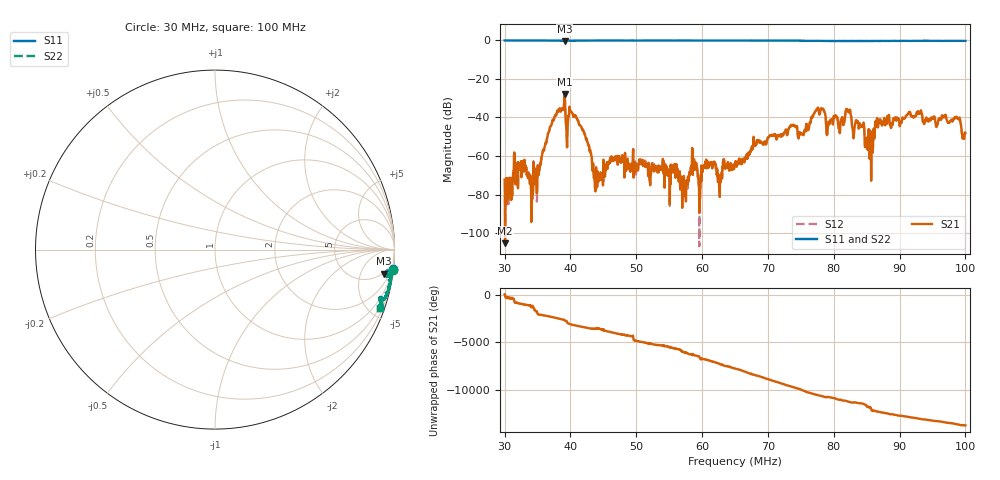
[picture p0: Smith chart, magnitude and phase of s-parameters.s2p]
!  23/08/2022  12:27:39 PM
! Ref Plane: 0.000 mm
# MHZ S MA R  50
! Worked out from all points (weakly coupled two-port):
!   2001 points, 30 MHz to 100 MHz, reference 50 ohm
!   highest |S21| = -27.83 dB at 39.13 MHz (marker M1); lowest = -105.4 dB at 30.07 MHz (marker M2)
!   lowest |S11| = -0.4 dB at 39.13 MHz (marker M3), VSWR 40.23, Z = 220 - j626 ohm
!   |S11| at or under -10 dB: nowhere
!   |S22| runs from -0.4 to 0.0 dB; largest |S21 - S12| = 0.00042
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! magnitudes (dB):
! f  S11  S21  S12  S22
! 30 MHz  0.0  -72.2  -73.9  0.0
! 30.07 MHz  0.0  -105.4  -94.4  0.0
! 32.48 MHz  0.0  -64.4  -63.0  0.0
! 34.2 MHz  0.0  -74.5  -76.4  0.0
! 37.42 MHz  -0.1  -41.2  -41.1  -0.1
! 39.13 MHz  -0.4  -27.8  -27.8  -0.4
! 41.69 MHz  -0.1  -45.3  -45.1  -0.1
! 43.93 MHz  -0.1  -76.4  -76.9  -0.1
! 46.59 MHz  -0.1  -61.6  -61.6  -0.1
! 53.34 MHz  -0.1  -68.5  -67.8  -0.1
! 57.34 MHz  -0.1  -76.1  -77.2  -0.1
! 58.77 MHz  -0.1  -61.6  -62.2  -0.1
! 59.61 MHz  -0.1  -89.3  -89.8  -0.1
! 60.55 MHz  -0.1  -63.7  -63.4  -0.1
! 62.69 MHz  -0.1  -81.3  -78.0  -0.1
! 65 MHz  -0.1  -64.2  -64.4  -0.1
! 76.69 MHz  -0.2  -39.5  -39.5  -0.2
! 82.19 MHz  -0.3  -36.7  -36.7  -0.3
! 85.12 MHz  -0.3  -53.4  -53.2  -0.3
! 88.34 MHz  -0.3  -39.0  -39.1  -0.3
! 98.78 MHz  -0.2  -39.9  -39.9  -0.2
! 100 MHz  -0.2  -48.2  -48.2  -0.2
